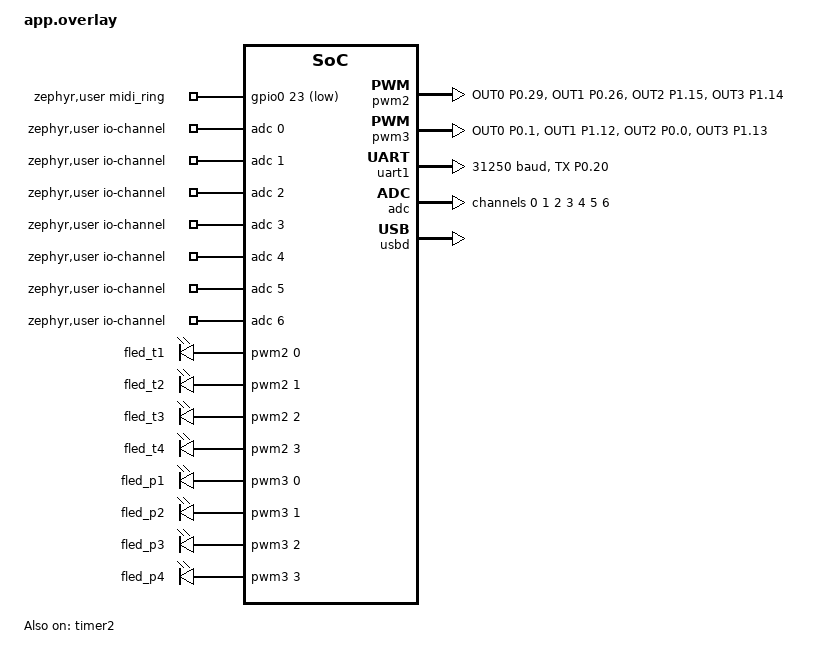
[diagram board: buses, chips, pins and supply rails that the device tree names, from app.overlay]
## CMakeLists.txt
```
cmake_minimum_required(VERSION 3.20.0)
find_package(Zephyr REQUIRED HINTS $ENV{ZEPHYR_BASE})
project(sp1-controller)
# Pulls in the sample_usbd device_next bring-up helper (sample_usbd_init.c +
# its include dir) used for the USB-CDC console. Mirrors the looper.
include(${ZEPHYR_BASE}/samples/subsys/usb/common/common.cmake)
# M5.2: librarian.c (NVS profile store) + profile.c (validate/b64 codec — built
# into the Zephyr image now; librarian uses the struct, and the M5.x protocol
# task will use the codec).
# M6.2: config_cdc.c (CDC <-> protocol bridge + live monitor stream) +
# protocol.c (the host-tested JSON-lines config protocol). protocol.c's
# read/write paths exercise profile.c's b64 codec, pulling profile_to_b64/
# profile_from_b64 into the final image (they were gc-eliminated in M5.2).
# Phase 2b: mode.c is the pure device-mode decision unit (mode_decide / the LED
# pattern table). main.c's button-scan now calls mode_decide() to drive the
# on-device •• + FWD/RWD mode toggle (and the config_cdc unsolicited mode push),
# so it must be in the image — it was host-test-only until this wiring landed.
# Indicator-language rework: dial.c is the pure count-dial FSM + the count->track-
# row LED mapping (dial_track_pattern). main.c's •• handler now feeds dial_step()
# and renders dial_track_pattern() every tick, so it must be in the image — it was
# host-test-only (firmware/test) until this wiring landed.
# 0.9.1 LED redesign: side_led.c is the pure SIDE-row render (side_led_pattern =
# layer rest + temporary mode-flash). main.c's per-tick side-row block calls it
# every loop, so it must be in the image — it was host-test-only until this wiring.
# 0.9.3-beta stateful buttons: transport.c is the pure BTN_TRANSPORT decision
# (transport_rt -> MIDI system real-time Start/Stop/Continue). main.c's
# route_midi_button() now calls it on a transport-button press, so it must be in
# the image — it was host-test-only (firmware/test) until this wiring landed.
# Keyboard auto-repeat: kbd_hid.c is the pure Keyboard-mode HELD-key state +
# boot-keyboard report builder. main.c now latches press/release edges into it and
# sends usb_hid_send_report() so a held button holds its key (host OS auto-repeats),
# so it must be in the image — host-test-only (firmware/test) until this wiring.
target_sources(app PRIVATE src/main.c src/control_logic.c src/controls.c src/buttons.c src/mapping.c src/cc_value.c src/midi_out.c src/usbdev.c src/usb_midi1.c src/usb_hid.c src/kbd_hid.c src/midi1_codec.c src/transport.c src/librarian.c src/profile.c src/protocol.c src/config_cdc.c src/config_cdc_fmt.c src/gesture.c src/mode.c src/panic.c src/dial.c src/side_led.c src/chord_engine.c src/chord6.c src/led_override.c src/led.c src/clockgen.c src/clock_ctl.c src/clock_cfg.c src/usb_rt_parse.c src/midi_rt_ring.c src/clock_timer.c src/clock_router.c src/trigger_out.c src/trigger_match.c)
# Phase-A Bluetooth bring-up probe (dev-only; CONFIG_FELDD_BT_PROBE). Compiled in
# only for the probe build so the shipped firmware never carries it.
target_sources_ifdef(CONFIG_FELDD_BT_PROBE app PRIVATE src/bt_probe.c src/wiced_hci.c)
# Module-download state machine (dev-only; CONFIG_FELDD_BT_DOWNLOAD). Flashes the
# CYW20706 with our embedded BLE-MIDI DS (src/cybt_blobs.h, generated by
# tools/gen_blobs.py). Compiled in only for the download build.
target_sources_ifdef(CONFIG_FELDD_BT_DOWNLOAD app PRIVATE src/bt_download.c)
# Runtime BLE link driver (dev build; CONFIG_FELDD_BT_LINK). Mirrors MIDI-out (and,
# with FELDD_BT_LINK_HID, the USB-HID keyboard) to the CYW20706 over the WICED-HCI
# UART. Reuses the wiced_hci codec + the pure bt_link_core encode/gating/drop logic,
# and pulls in the •• + play gesture FSM (bt_gesture.c) + LED vocabulary (bt_led.c)
# that main.c drives on this build. Mutually exclusive with the probe/download builds.
target_sources_ifdef(CONFIG_FELDD_BT_LINK app PRIVATE src/bt_link.c src/bt_link_core.c src/wiced_hci.c src/bt_gesture.c src/bt_led.c)
# Q5 community radio provisioning (dev/canary build; CONFIG_FELDD_BT_PROVISION, depends on
# FELDD_BT_LINK && !FELDD_BT_DOWNLOAD). bt_provision.c adds the read-only SS probe AND the
# gate-gated DS-only flasher (template gate bt_provision_gate.c); no CHIP_ERASE / SS write.
# Compiled in ONLY for the provision build, so the shipped no-BT image and the standard link
# image are byte-unchanged.
target_sources_ifdef(CONFIG_FELDD_BT_PROVISION app PRIVATE src/bt_provision.c src/bt_provision_gate.c)
```

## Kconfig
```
# SP-1 controller firmware application Kconfig.
#
# Pulls in the common USB sample options (CONFIG_SAMPLE_USBD_VID/PID/PRODUCT/...)
# consumed by the vendored sample_usbd_init.c device_next bring-up helper, then
# the standard Zephyr Kconfig tree. Mirrors the sp1-tape-looper mechanism.

source "samples/subsys/usb/common/Kconfig.sample_usbd"

config FELDD_BT_PROBE
	bool "Phase-A CYBT-353027-02 Bluetooth module bring-up probe (DEV-ONLY)"
	default n
	help
	  Build the NON-DESTRUCTIVE Phase-A Bluetooth bring-up probe (bt_probe.c)
	  instead of running feldd's normal control loop. The probe takes over right
	  after the charge-standby gate + boot animation: it opens UART0 to the onboard
	  CYBT-353027-02 (CYW20706) module, RTT-logs every byte in and out, resets the
	  module and logs its boot output, then enters the boot-ROM's UART download mode
	  (Recovery Reset) and sends HCI_RESET, watching for the ROM's command-complete
	  ack. It NEVER downloads firmware, so it erases nothing and is fully reversible
	  (reset again and the module's factory app boots). This is a debugger-only dev
	  build (needs CONFIG_RTT_CONSOLE); it must never be shipped. Leave n for release
	  builds.

config FELDD_BT_DOWNLOAD
	bool "Module-download state machine: flash the CYW20706 with our BLE-MIDI DS (DEV-ONLY)"
	depends on !FELDD_BT_PROBE
	default n
	help
	  Build the module-download state machine (bt_download.c) instead of feldd's
	  normal control loop. It reuses the probe's proven Recovery-Reset + CTS-low
	  autobaud + READ_RAM, then loads the minidriver into module RAM and streams our
	  embedded BLE-MIDI DS to the module's off-chip flash, DS-only and Static-Section-
	  preserving (NO CHIP_ERASE; DS_FLOOR 0xFF003000 unconditional guard; identity gate
	  on the burner BD_ADDR; SS snapshot + re-check). Every non-destructive step + a DS
	  dry-run runs UNLESS FELDD_BT_DOWNLOAD_ARM is set. Debugger-only dev build (needs
	  CONFIG_RTT_CONSOLE); never ship. Mutually exclusive with FELDD_BT_PROBE.

config FELDD_BT_DOWNLOAD_ARM
	bool "Arm the DESTRUCTIVE flash write in the module-download state machine"
	depends on FELDD_BT_DOWNLOAD
	default n
	help
	  When unset (default), bt_download runs every non-destructive step and a DS
	  dry-run, then STOPS before emitting the first WRITE_RAM-to-flash byte. Set this
	  ONLY to perform the real DS flash write. The DS-only / DS_FLOOR / no-CHIP_ERASE /
	  identity-gate / SS-snapshot guards remain active either way; this switch only
	  enables the write path. This is the explicit human-arm gate for the first
	  destructive touch of the irreplaceable burner module.

config FELDD_BT_DOWNLOAD_CHIPERASE
	bool "Full Download: CHIP_ERASE + rewrite the SS (makes the app cold-bootable)"
	depends on FELDD_BT_DOWNLOAD_ARM
	default n
	help
	  Switch bt_download from the SS-preserving DS-only Upgrade to a Full Download:
	  CHIP_ERASE the module flash, rewrite the Static Section with the burner's own
	  BD_ADDR preserved but the DS-descriptor byte flipped 0x30->0x40 (so the boot ROM
	  cold-boots the NEW app and it advertises), then write the DS. This is the ONLY path
	  that issues CHIP_ERASE (the one command that wipes the un-restorable BD_ADDR), gated
	  behind a pre-erase cross-check and recoverable from the 40-byte SS backup. TRIPLE
	  GATE (needs DOWNLOAD + ARM + this). Do NOT set until the whole sequence is rehearsed
	  + proven to advertise on the DISPOSABLE eval board. Never in a shipped build.

config FELDD_BT_LINK
	bool "Runtime BLE link to the CYW20706 module (BLE-MIDI sink + optional BLE-HID)"
	depends on !FELDD_BT_PROBE && !FELDD_BT_DOWNLOAD
	default n
	help
	  Build the runtime module link driver (bt_link.c): feldd opens UART0 to the
	  onboard CYW20706 in NORMAL (non-download) mode, mirrors its MIDI-out to the
	  module's BLE-MIDI notify characteristic, and (with FELDD_BT_LINK_HID) mirrors
	  its USB-HID boot-keyboard reports over BLE-HID. Sends are gated on live BLE
	  connection state learned from the module via FELDD-group WICED events. Unlike
	  FELDD_BT_PROBE/DOWNLOAD this RETURNS and runs alongside the control loop.
	  REQUIRES the bt_link-only DT overlay (EXTRA_DTC_OVERLAY_FILE=bt_link.overlay)
	  for CTS-only hw-flow-control; NEVER psel UART_RTS (P1.01 = download strap).

config FELDD_BT_LINK_HID
	bool "Mirror the USB-HID boot keyboard over BLE-HID (Phase 2)"
	depends on FELDD_BT_LINK
	default n
	help
	  Gate the Phase-2 BLE-HID keyboard mirror: feldd sends the same 8-byte boot-
	  keyboard reports it sends over USB-HID to the module, which forwards them as
	  HOGP input reports. Leave n to ship Phase 1 (wireless MIDI) with no HID code.

config FELDD_REMOTE_HID_TEST
	bool "Remote HID bench test: auto full-boot + BT on + periodic keystroke (DEV ONLY)"
	depends on FELDD_BT_LINK_HID
	default n
	help
	  DEV/BENCH ONLY, never ship. Skips the charge-standby gate (full boot on an
	  SWD reset), turns BT on at boot (no •• + play needed), and emits a periodic
	  'x' keystroke over BLE-HID once a host subscribes. Lets the whole HOGP path
	  be exercised remotely from a Mac over SWD with no physical button presses.

config FELDD_BT_PROVISION
	bool "Q5 on-device radio provisioning: read-only SS probe + gate-gated DS-only flasher for the CYW20706"
	depends on FELDD_BT_LINK && !FELDD_BT_DOWNLOAD
	default n
	help
	  Build the Q5 community radio-provisioning path (bt_provision.c) alongside the runtime
	  BLE link. It adds two configurator verbs on the onboard CYW20706:
	    {"t":"bt_ss_probe"}  READ-ONLY: download-mode -> minidriver (module RAM) -> READ_RAM
	      the 64-byte Static Section (per-unit BD_ADDR + RF cal + keys) -> template gate ->
	      reply with the SS + verdict. Flash this to a SPARE SP-1 to SAMPLE fleet uniformity
	      (design references/15, Top-3 item 1) BEFORE any community radio is ever written.
	    {"t":"bt_provision"} the gate-gated DS-only FLASHER: on GATE_OK it writes the DS (app)
	      region to convert the factory BT-Classic app to our BLE app.

	  FLASH-SAFETY: structurally incapable of a CHIP_ERASE or an SS write. The ONLY flash
	  write is the DS region at the compile-time constant CYBT_DS_BASE_ADDR, gate-gated and
	  floor/window-parked per chunk; the SS is read-only and re-verified byte-identical after
	  the write. No CHIP_ERASE / SS-write builder is compiled (those live only in
	  bt_download.c, which this `depends on !FELDD_BT_DOWNLOAD` makes mutually exclusive), and
	  bt_provision.c #errors the build if a chip-erase option is defined. Requires
	  FELDD_BT_LINK (a strict UART handoff from the runtime link, never concurrent). Build the
	  TX/RX-only bt_uart0.overlay (NOT bt_link.overlay's hw-flow-control) so it reproduces the
	  burner-proven flow_ctrl=none (design R14). NOT hardware-validated: gate a community
	  release on the design Top-3 + the module-flash-audit skill. Dev/canary build; the
	  default community download image leaves this n.

source "Kconfig.zephyr"
```

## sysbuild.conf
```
# SP-1 sysbuild configuration.
#
# Disable NCS Partition Manager. The SP-1 has a FIXED external TE bootloader
# that dictates the flash map; there is no NCS/MCUboot bootloader and only a
# single app image, so PM has nothing legitimate to place. Left enabled, PM
# auto-derives a flash model that is WRONG for this hardware:
#   - it places `app` at 0x0 (ignoring the 0x0-0x20000 TE bootloader), and
#   - it places `nvs_storage` at 0xFA000-0x100000, which runs INTO the reserved
#     0xFF000 bootloader-settings/MBR page (writing it could brick the
#     bootloader, our recovery path).
#
# With PM off, FLASH_MAP_CUSTOM is not selected, so the Flash Map API
# (FIXED_PARTITION_*) reads the devicetree fixed-partitions instead. Those are
# correct for the SP-1: bootloader@0 (0x20000), app@0x20000 (0xBF000), and
# storage@0xFB000 (0x4000, ending exactly at the reserved 0xFF000 page) from
# app.overlay. The app still links at 0x20000 via the board's ROM_START_OFFSET
# (CONFIG_FLASH_LOAD_OFFSET=0x20000), which is independent of PM.
SB_CONFIG_PARTITION_MANAGER=n
```

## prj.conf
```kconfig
CONFIG_CLOCK_CONTROL=y
CONFIG_CLOCK_CONTROL_NRF_K32SRC_SYNTH=y
CONFIG_PM=y
CONFIG_WATCHDOG=y
CONFIG_REBOOT=y
CONFIG_HW_STACK_PROTECTION=y
CONFIG_STACK_SENTINEL=y
CONFIG_GPIO=y

# ---- LED PWM: all 8 LEDs (pwm2=track, pwm3=side) driven at a global brightness
# via led.c, replacing raw-GPIO on/off so they can run dimmed. The nrfx PWM driver
# is auto-selected for the &pwm2/&pwm3 nodes enabled in app.overlay. ----
CONFIG_PWM=y

# ---- M2.2: SAADC fader/ladder read + USB-CDC debug console ----
CONFIG_ADC=y

# USB composite on the device_next stack via the sample_usbd helper: a CDC ACM
# console + a hand-rolled USB-MIDI 1.0 class (usb_midi1.c, USBD_DEFINE_CLASS).
# Both class instances are auto-registered by usbd_register_all_classes inside
# sample_usbd_init_device (M4.1). The old USB-MIDI 2.0 (usbd_midi2) class was
# dropped: feldd used no 2.0 feature, and a single MIDI-1.0 function enumerates
# cleanly on Mac/Win/iOS/old-Linux without the dual-MIDIStreaming compat risk.
CONFIG_USB_DEVICE_STACK_NEXT=y
CONFIG_USBD_CDC_ACM_CLASS=y
# Studio phase 2a: a first-party Zephyr usbd_hid boot-keyboard function joins the
# composite (usb_hid.c + the hid_dev_0 DT node in app.overlay). This Kconfig is
# default-y once DT_HAS_ZEPHYR_HID_DEVICE_ENABLED (the node makes it so), but we
# pin it explicitly to mirror the hid-keyboard sample and make the dependency
# obvious. The HID class self-registers into sample_usbd alongside CDC + MIDI1.
CONFIG_USBD_HID_SUPPORT=y
# v0.3.8: give the CDC ACM its OWN workqueue. Its TX send (tx_fifo_work) was
# starved on the shared system workqueue (USB-MIDI + USB stack contend for it),
# so config replies only flushed while RX kept re-waking the queue. The Kconfig
# help for this option describes exactly that: "use the dedicated queue ... if
# the system workqueue cannot be used due to performance issues or other
# conflicts." Dedicated queue = TX drains on its own.
CONFIG_USBD_CDC_ACM_WORKQUEUE=y
CONFIG_USBD_CDC_ACM_STACK_SIZE=2048
# The app owns the single usbd context (sample_usbd_init_device + usbd_enable);
# do NOT let the CDC SYS_INIT build a second private context that fights for
# the controller.
CONFIG_CDC_ACM_SERIAL_INITIALIZE_AT_BOOT=n
CONFIG_SERIAL=y
CONFIG_CONSOLE=y
# Console over the USB CDC-ACM (app.overlay: chosen zephyr,console = &cdc_acm_uart0).
# RELEASE value. The BT dev builds (probe/download) route printk to SEGGER RTT instead
# (USE_SEGGER_RTT + RTT_CONSOLE + UART_CONSOLE=n); that flip lives ONLY in probe.conf /
# download.conf, never here — the shipped + BT_LINK builds keep the CDC console.
CONFIG_UART_CONSOLE=y
CONFIG_UART_LINE_CTRL=y
CONFIG_UART_INTERRUPT_DRIVEN=y
CONFIG_PRINTK=y
CONFIG_HWINFO=y

# USB device identity for the sample_usbd helper. PID bumped to 0x5212 (from the
# CDC+MIDI 0x5211) so a host does not reuse a cached driver now that the MIDI
# function is BIDIRECTIONAL: we added a bulk OUT endpoint so strict USB-MIDI hosts
# (the Teenage Engineering OP-XY, which SENDS clock/notes to every device) have an
# input to send to. An output-only MIDI device hard-faults the OP-XY v1.1.18 host.
CONFIG_SAMPLE_USBD_PRODUCT="feldd"
# Nordic Semiconductor VID (0x1915). Pin it so we stop inheriting Zephyr's shared
# test VID 0x2FE3; this is the constant the WebSerial filter hardcodes
# ({ usbVendorId: 0x1915 }).
CONFIG_SAMPLE_USBD_VID=0x1915
CONFIG_SAMPLE_USBD_PID=0x5212

# USB stack + printf want a roomier main stack than the bare power build;
# device_next USBD init (descriptor build + class registration) needs headroom.
# v9 (PROFILE_VERSION 9) doubles the config codec: config_cdc_poll() -> proto_handle
# runs on THIS main thread (no separate proto thread), and the v9 write path frames
# struct profile p (1038) + b64[1385] + a nested from_b64 buf[1038] for a ~3.5 KB
# peak (up from ~1.8 KB at v8) on top of the resident control-loop frame. 4096 risks
# a MemManage stack overflow -> reset on the primary config path; 6144 gives margin.
CONFIG_MAIN_STACK_SIZE=6144

# ---- M5.2: NVS-backed profile librarian ----
# NVS persists the 8 profiles + the active index in the 16 KB storage_partition
# carved at flash 0xFB000 (app.overlay), ending at the reserved 0xFF000
# bootloader page. FLASH_MAP/FLASH_PAGE_LAYOUT give the
# FIXED_PARTITION_* macros + page geometry NVS needs; MPU_ALLOW_FLASH_WRITE lets
# the running app write its own flash region on the nRF52840.
CONFIG_NVS=y
CONFIG_FLASH=y
CONFIG_FLASH_MAP=y
CONFIG_FLASH_PAGE_LAYOUT=y
CONFIG_MPU_ALLOW_FLASH_WRITE=y

# ---- MIDI clock generator: hardware TIMER for microsecond-precise 24-PPQN ticks ----
# The Zephyr counter API drives &timer2 (app.overlay, 1 MHz) as the GEN-mode clock
# source (clock_timer.c). The nRF counter-timer driver (COUNTER_NRF_TIMER) auto-enables
# from the enabled nordic,nrf-timer DT node once CONFIG_COUNTER is on. This replaces
# the k_timer whose 32768 Hz system-tick quantisation jittered the tempo above ~100 BPM.
CONFIG_COUNTER=y

# ---- Bluetooth (feldd-bt-probe merge) ----
# NO BT symbol is enabled here: this is the SHIPPED (no-BT) config, and the BT Kconfig
# symbols (FELDD_BT_PROBE/DOWNLOAD/LINK) all default n. `fw.sh build` / `fw.sh bin` must
# stay the no-BT release image, so the probe's DEV-ONLY block (CONFIG_FELDD_BT_PROBE=y +
# the SEGGER-RTT console + UART_CONSOLE=n) was RELOCATED out of prj.conf into probe.conf.
# Select a BT build with an EXTRA_CONF_FILE overlay instead:
#   probe.conf    -> Phase-A bring-up probe (bt_probe.c), RTT console
#   download.conf -> module-download state machine (bt_download.c), RTT console
#   link.conf     -> runtime BLE link (bt_link.c), + EXTRA_DTC_OVERLAY_FILE=bt_link.overlay
# All BT source is #ifdef'd behind these symbols (main.c + CMakeLists target_sources_ifdef),
# so absent them the image is byte-for-byte the 0.24 shipped firmware.
```

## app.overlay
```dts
#include <zephyr/dt-bindings/adc/adc.h>
#include <zephyr/dt-bindings/adc/nrf-saadc.h>
#include <zephyr/dt-bindings/pinctrl/nrf-pinctrl.h>
#include <zephyr/dt-bindings/gpio/gpio.h>
#include <zephyr/dt-bindings/pwm/pwm.h>

/ {
    zephyr,user {
        /* idx: 0=ladder tracks(AIN0), 1=ladder vol(AIN1), 2..5=faders1..4(AIN3,6,2,7), 6=battery(AIN4) */
        io-channels = <&adc 0>, <&adc 1>, <&adc 2>, <&adc 3>, <&adc 4>, <&adc 5>, <&adc 6>;
        /* M3.2 TRS MIDI out: ring = PNP current-source base on P0.23, active-LOW
         * (drive logical-1 to enable; the GPIO_ACTIVE_LOW flag inverts it to the
         * electrical low the PNP base wants). Coexists with io-channels above. */
        midi_ring_gpios = <&gpio0 23 GPIO_ACTIVE_LOW>;
    };
    chosen { zephyr,console = &cdc_acm_uart0; };

    /* The USB-MIDI surface is now the hand-rolled USB-MIDI 1.0 class
     * (usb_midi1.c), which needs no DT node — it is registered via
     * USBD_DEFINE_CLASS. The old zephyr,midi2-device node was removed along with
     * the usbd_midi2 function. */
};

/* M3.2 TRS MIDI out (31250 baud, TX-only) on uart1/uarte1.
 * Tip data = UARTE TXD on P0.20 (idles high = MIDI mark/"1"). P0.20 is the
 * most-likely TXD per the CA-033/RP-054 research; if the on-hardware bench
 * (scope + OP-XY) later shows P0.17 is the real tip TXD, flip the psels pin
 * number below from 20 to 17 — a one-line pinctrl change.
 * A second tip pin (P0.17, a parallel current copy) is only needed if one pin
 * cannot drive the MIDI opto; DEFERRED until one-pin drive proves too weak. */
&pinctrl {
    uart1_default: uart1_default { group1 { psels = <NRF_PSEL(UART_TX, 0, 20)>; }; };
    uart1_sleep:   uart1_sleep   { group1 { psels = <NRF_PSEL(UART_TX, 0, 20)>; low-power-enable; }; };

    /* NOTE: the BT module UART0 (P1.02 TX / P1.04 RX) pinctrl + the &uart0 enable
     * node live in bt_uart0.overlay, a BT-only EXTRA_DTC_OVERLAY_FILE fragment.
     * They are deliberately NOT here: DT overlays are not Kconfig-gated, so enabling
     * &uart0 in this shared overlay would boot-init UARTE0 in the SHIPPED no-BT image
     * (0.24 never did). See bt_uart0.overlay. */

    /* LED PWM (mirrors the gold sp1-midi BSP stem_player-pinctrl.dtsi).
     * PWM2 = track row, PWM3 = side/play row. Channel->pin per the CANONICAL LED map. */
    pwm2_default: pwm2_default { group1 {
        psels = <NRF_PSEL(PWM_OUT0, 0, 29)>,   /* T1 P0.29 */
                <NRF_PSEL(PWM_OUT1, 0, 26)>,   /* T2 P0.26 */
                <NRF_PSEL(PWM_OUT2, 1, 15)>,   /* T3 P1.15 */
                <NRF_PSEL(PWM_OUT3, 1, 14)>;   /* T4 P1.14 */
    }; };
    pwm2_sleep: pwm2_sleep { group1 {
        psels = <NRF_PSEL(PWM_OUT0, 0, 29)>, <NRF_PSEL(PWM_OUT1, 0, 26)>,
                <NRF_PSEL(PWM_OUT2, 1, 15)>, <NRF_PSEL(PWM_OUT3, 1, 14)>;
        low-power-enable;
    }; };
    pwm3_default: pwm3_default { group1 {
        psels = <NRF_PSEL(PWM_OUT0, 0, 1)>,    /* PLAY1 P0.01 */
                <NRF_PSEL(PWM_OUT1, 1, 12)>,   /* PLAY2 P1.12 */
                <NRF_PSEL(PWM_OUT2, 0, 0)>,    /* PLAY3 P0.00 */
                <NRF_PSEL(PWM_OUT3, 1, 13)>;   /* PLAY4 P1.13 (== SP1_LED1) */
    }; };
    pwm3_sleep: pwm3_sleep { group1 {
        psels = <NRF_PSEL(PWM_OUT0, 0, 1)>, <NRF_PSEL(PWM_OUT1, 1, 12)>,
                <NRF_PSEL(PWM_OUT2, 0, 0)>, <NRF_PSEL(PWM_OUT3, 1, 13)>;
        low-power-enable;
    }; };
};

/* Enable the two PWM peripherals that drive the 8 LEDs (raw GPIO drive is replaced
 * by led.c). ~1 kHz, active-high normal polarity, so duty% == LED brightness. */
&pwm2 {
    status = "okay";
    pinctrl-0 = <&pwm2_default>; pinctrl-1 = <&pwm2_sleep>; pinctrl-names = "default","sleep";
};
&pwm3 {
    status = "okay";
    pinctrl-0 = <&pwm3_default>; pinctrl-1 = <&pwm3_sleep>; pinctrl-names = "default","sleep";
};

/ {
    /* pwm-leds container (gold-BSP pattern). led.c references these child labels in
     * FIXED order: idx 0..3 = track T1..T4, idx 4..7 = side/play LED1..4 (feldd
     * numbering; see the CANONICAL LED map in sp1_board.h). compatible="pwm-leds"
     * gives each child's `pwms` a binding (needed for PWM_DT_SPEC_GET); we drive
     * the channels directly, so CONFIG_LED_PWM is intentionally NOT enabled. */
    feldd_leds: feldd-leds {
        compatible = "pwm-leds";
        fled_t1: fled_t1 { pwms = <&pwm2 0 PWM_USEC(1024) PWM_POLARITY_NORMAL>; };  /* T1 P0.29 */
        fled_t2: fled_t2 { pwms = <&pwm2 1 PWM_USEC(1024) PWM_POLARITY_NORMAL>; };  /* T2 P0.26 */
        fled_t3: fled_t3 { pwms = <&pwm2 2 PWM_USEC(1024) PWM_POLARITY_NORMAL>; };  /* T3 P1.15 */
        fled_t4: fled_t4 { pwms = <&pwm2 3 PWM_USEC(1024) PWM_POLARITY_NORMAL>; };  /* T4 P1.14 */
        fled_p1: fled_p1 { pwms = <&pwm3 0 PWM_USEC(1024) PWM_POLARITY_NORMAL>; };  /* PLAY1 P0.01 */
        fled_p2: fled_p2 { pwms = <&pwm3 1 PWM_USEC(1024) PWM_POLARITY_NORMAL>; };  /* PLAY2 P1.12 */
        fled_p3: fled_p3 { pwms = <&pwm3 2 PWM_USEC(1024) PWM_POLARITY_NORMAL>; };  /* PLAY3 P0.00 */
        fled_p4: fled_p4 { pwms = <&pwm3 3 PWM_USEC(1024) PWM_POLARITY_NORMAL>; };  /* PLAY4 P1.13 */
    };
};
&uart1 {
    compatible = "nordic,nrf-uarte"; status = "okay";
    current-speed = <31250>;
    pinctrl-0 = <&uart1_default>; pinctrl-1 = <&uart1_sleep>; pinctrl-names = "default","sleep";
    /* TX-only MIDI out: no RX/RTS/CTS. P0.20 = tip TXD (most-likely; flip to
     * P0.17 if the bench shows otherwise). Second tip pin P0.17 (parallel
     * current copy) deferred until one-pin drive proves too weak. */
};

/* MIDI clock generator (GEN mode): a dedicated nRF hardware TIMER gives the
 * 24-PPQN ticks microsecond precision (clock_timer.c drives it via the Zephyr
 * counter API). Replaces the k_timer whose ~30 us system-tick quantisation
 * jittered the tempo visibly above ~100 BPM. prescaler 4 -> 16 MHz / 2^4 =
 * 1 MHz = 1 us/tick; the 40..240 BPM tick periods (10416..62500 us) sit well
 * inside the counter range. No other feldd code claims a TIMER instance. */
&timer2 {
    status = "okay";
    prescaler = <4>;
};

/* BT module UART0 (&uart0 enable + current-speed + pinctrl) lives in the BT-only
 * bt_uart0.overlay fragment, NOT here. Enabling &uart0 in this shared overlay would
 * boot-init UARTE0 in the SHIPPED no-BT image (0.24 leaves uart0 disabled). BT builds
 * pull in bt_uart0.overlay via EXTRA_DTC_OVERLAY_FILE (probe/download: bt_uart0.overlay;
 * link: "bt_uart0.overlay;bt_link.overlay" for the added CTS/hw-flow-control). */

&adc {
    status = "okay";
    #address-cells = <1>;
    #size-cells = <0>;
    channel@0 { reg=<0>; zephyr,gain="ADC_GAIN_1_6"; zephyr,reference="ADC_REF_INTERNAL";
        zephyr,acquisition-time=<ADC_ACQ_TIME(ADC_ACQ_TIME_MICROSECONDS,20)>;
        zephyr,input-positive=<NRF_SAADC_AIN0>; zephyr,resolution=<12>; };   /* ladder: tracks */
    channel@1 { reg=<1>; zephyr,gain="ADC_GAIN_1_6"; zephyr,reference="ADC_REF_INTERNAL";
        zephyr,acquisition-time=<ADC_ACQ_TIME(ADC_ACQ_TIME_MICROSECONDS,20)>;
        zephyr,input-positive=<NRF_SAADC_AIN1>; zephyr,resolution=<12>; };   /* ladder: vol */
    channel@2 { reg=<2>; zephyr,gain="ADC_GAIN_1_6"; zephyr,reference="ADC_REF_INTERNAL";
        zephyr,acquisition-time=<ADC_ACQ_TIME(ADC_ACQ_TIME_MICROSECONDS,20)>;
        zephyr,input-positive=<NRF_SAADC_AIN3>; zephyr,resolution=<12>; };   /* fader1 P0.05 */
    channel@3 { reg=<3>; zephyr,gain="ADC_GAIN_1_6"; zephyr,reference="ADC_REF_INTERNAL";
        zephyr,acquisition-time=<ADC_ACQ_TIME(ADC_ACQ_TIME_MICROSECONDS,20)>;
        zephyr,input-positive=<NRF_SAADC_AIN6>; zephyr,resolution=<12>; };   /* fader2 P0.30 */
    channel@4 { reg=<4>; zephyr,gain="ADC_GAIN_1_6"; zephyr,reference="ADC_REF_INTERNAL";
        zephyr,acquisition-time=<ADC_ACQ_TIME(ADC_ACQ_TIME_MICROSECONDS,20)>;
        zephyr,input-positive=<NRF_SAADC_AIN2>; zephyr,resolution=<12>; };   /* fader3 P0.04 */
    channel@5 { reg=<5>; zephyr,gain="ADC_GAIN_1_6"; zephyr,reference="ADC_REF_INTERNAL";
        zephyr,acquisition-time=<ADC_ACQ_TIME(ADC_ACQ_TIME_MICROSECONDS,20)>;
        zephyr,input-positive=<NRF_SAADC_AIN7>; zephyr,resolution=<12>; };   /* fader4 P0.31 */
    channel@6 { reg=<6>; zephyr,gain="ADC_GAIN_1_6"; zephyr,reference="ADC_REF_INTERNAL";
        zephyr,acquisition-time=<ADC_ACQ_TIME(ADC_ACQ_TIME_MICROSECONDS,20)>;
        zephyr,input-positive=<NRF_SAADC_AIN4>; zephyr,resolution=<12>; };   /* battery P0.28 */
};

/* The nRF52840 USB device-controller nodelabel is &usbd; there is no
 * zephyr_udc0 alias on this SoC. The sample_usbd helper (sample_usbd_init.c)
 * hard-references DT_NODELABEL(zephyr_udc0), so we attach that extra label here
 * and hang the CDC-ACM console child node off it. */
zephyr_udc0: &usbd {
    status = "okay";
    cdc_acm_uart0: cdc_acm_uart0 { compatible = "zephyr,cdc-acm-uart"; };

    /* Studio phase 2a: a first-party Zephyr usbd_hid boot-keyboard function
     * (usb_hid.c), joining the same sample_usbd composite as the CDC console +
     * USB-MIDI 1.0. Mirrors samples/subsys/usb/hid-keyboard's hid_dev_0 node: a
     * standard 8-byte boot-keyboard input report (modifiers, reserved, 6 keycodes),
     * polled at 1 ms. The driver (usbd_hid.c, compat zephyr,hid-device) builds the
     * HID interface + a single interrupt-IN endpoint and self-registers into the
     * composite via usbd_register_all_classes (it is NOT on the helper's blocklist,
     * which only excludes dfu_dfu). Presence of this node auto-selects
     * CONFIG_USBD_HID_SUPPORT (default y when DT_HAS_ZEPHYR_HID_DEVICE_ENABLED). */
    hid_dev_0: hid_dev_0 {
        compatible = "zephyr,hid-device";
        label = "FELDD-HID";
        protocol-code = "keyboard";
        in-report-size = <8>;
        in-polling-period-us = <1000>;
    };
};

/* M5.2 NVS storage partition for the profile librarian.
 *
 * The marisko board dts (boards/arm/sp1/sp1.dts) declares only
 * bootloader_partition @0 (0x20000) + app_partition @0x20000 (0xBF000).
 * The app *partition* (the linker cap on the app image) ends at 0xDF000, but
 * the SP-1 bootloader's actual writable app slot runs to 0xFEFFF — only the
 * last page 0xFF000..0xFFFFF is reserved. The nRF52840 flash is 1 MB
 * (0x100000). We place NVS at the TOP of usable flash (conventional NVS
 * placement: maximally far from a growing app image, just under the reserved
 * page) — a 32 KB (0x8000) region spanning 0xF7000..0xFF000, ending exactly
 * at the reserved page. It is safe because it sits above the linker-capped app
 * region (ends 0xDF000) and just below the only reserved page (0xFF000).
 *
 * Referencing the &flash0 { partitions { ... }; } path MERGES this child into
 * the marisko-declared `partitions` node (which has no label, so it is reached
 * by node path); the bootloader + app partitions survive and all three appear
 * in the merged zephyr.dts. The node is named partition@f7000 so its
 * unit-address matches its reg offset, and labelled storage_partition so
 * FIXED_PARTITION_*(storage_partition) resolves in librarian.c. */
&flash0 {
    partitions {
        storage_partition: partition@f7000 {
            label = "storage";
            reg = <0x000F7000 0x00008000>;
        };
    };
};
```

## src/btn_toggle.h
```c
#ifndef BTN_TOGGLE_H
#define BTN_TOGGLE_H
#include <stdint.h>
#include "profile.h"   /* NUM_LAYERS, NUM_BUTTONS */

/* Pure per-LAYER, per-BUTTON latched-toggle store for BTN_CC_TOGGLE (e.g. the
 * OP-XY per-track mute CC9 / portamento CC29). Each track-layer keeps its OWN
 * on/off bit, so muting track 3 (layer 2) and hopping to track 5 (layer 4) do
 * not share a mute bit. INDEPENDENT per track: do NOT reset on a layer hop
 * (that would re-mute a track on return); reset every layer only on a profile
 * switch. Header-only so main.c and the host test link the identical indexing
 * (mirrors layer_takeover.h). 8*9 = 72 bytes. */
struct btn_toggle { uint8_t bit[NUM_LAYERS][NUM_BUTTONS]; };

static inline void btn_toggle_init(struct btn_toggle *t) {
    for (int L = 0; L < NUM_LAYERS; L++)
        for (int b = 0; b < NUM_BUTTONS; b++) t->bit[L][b] = 0;
}
/* Flip one (layer, button) latch and return its NEW value (0/1). */
static inline uint8_t btn_toggle_flip(struct btn_toggle *t, int layer, int idx) {
    t->bit[layer][idx] ^= 1u;
    return t->bit[layer][idx];
}
static inline uint8_t btn_toggle_get(const struct btn_toggle *t, int layer, int idx) {
    return t->bit[layer][idx];
}
/* Profile switch = full reset: clear EVERY layer's latch. */
static inline void btn_toggle_reset_all(struct btn_toggle *t) {
    btn_toggle_init(t);
}

#endif /* BTN_TOGGLE_H */
```

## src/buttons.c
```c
/*
 * buttons.c — decode the SP-1's two resistor-ladder ADC inputs into the 9
 * logical buttons, with a 3-read sticky debounce per ladder, plus detection of
 * the Track1+4 "enter DFU" combo band.
 *
 * Logical button indices (MUST match the mapping engine's button[9] order and
 * the protocol's button indices):
 *     0=Play  1=Track1  2=Track2  3=Track3  4=Track4
 *     5=VolUp 6=VolDown 7=FWD     8=RWD
 * The •• function button is a DIRECT GPIO (P0.27) handled in main.c, NOT one of
 * these 9 — it is power/bootloader only.
 *
 * Thresholds come from the chattock looper's VERIFIED decode (decode_tracks /
 * decode_vol in sp1-tape-looper/firmware/src/main.c). HARDWARE CALIBRATION of
 * the exact ADC plateaus is DEFERRED until Unit A is on the bench; these are the
 * looper's confirmed defaults.
 *
 * The decode + debounce is PURE INTEGER LOGIC (see *_pure functions below) and
 * depends only on the raw 0..4095 ADC values, so it is host-testable. The only
 * Zephyr coupling is the I/O shell (buttons_init / controls_read_raw), compiled
 * out when BUTTONS_HOST_TEST is defined.
 */
#include "buttons.h"

/* --------------------------------------------------------------------------
 * Decode: raw ladder code -> a single active logical index, or -1 for none.
 * Only one button per ladder can be active at a time — that is how a resistor
 * ladder physically works (a second press just pulls a different parallel
 * resistance, landing on its own plateau, never two at once).
 * ------------------------------------------------------------------------ */

/* TRACKS ladder (controls_read_raw(0), AIN0). Looper decode_tracks():
 *   <110 NONE | <300 T1(~213) | <560 T2(~403) | <950 T3(~733)
 *   | <1500 T4(~1220) | else PLAY(~1823)
 * Mapped to our indices: Play=0, Track1..4 = 1..4. */
int buttons_decode_tracks_pure(int v)
{
    if (v <  110) return -1;   /* idle */
    if (v <  300) return 1;    /* Track1 */
    if (v <  560) return 2;    /* Track2 */
    if (v <  950) return 3;    /* Track3 */
    if (v < 1500) return 4;    /* Track4 */
    return 0;                  /* Play */
}

/* VOL ladder (controls_read_raw(1), AIN1). Looper decode_vol() yields four
 * distinct plateaus in ASCENDING raw order:
 *     <200 NONE | <560 (~404) | <950 (~729) | <1500 (~1220) | else (~1820)
 * The looper's own names (TEMPO_DOWN/VOL_DOWN/TEMPO_UP/VOL_UP) are looper-
 * specific. What is physically fixed is the PLATEAU ORDER; the logical name on
 * each plateau is a wiring assumption confirmable on hardware later.
 *
 * BENCH-CONFIRMED ASSIGNMENT (ascending raw -> our logical name). petercolombo
 * reported on a real unit (2026-06-18) that FWD and VolDown were swapped — the
 * outer two (RWD lowest, VolUp highest) were correct, the inner two reversed. So
 * the transport/volume pairs are interleaved on the ladder, not grouped as first
 * assumed:
 *     plateau ~404  -> RWD     (idx 8)
 *     plateau ~729  -> VolDown (idx 6)
 *     plateau ~1220 -> FWD     (idx 7)
 *     plateau ~1820 -> VolUp   (idx 5)
 * If a future bench disagrees, only this mapping table changes. */
int buttons_decode_vol_pure(int v)
{
    if (v <  200) return -1;   /* idle */
    if (v <  560) return 8;    /* RWD */
    if (v <  950) return 6;    /* VolDown */
    if (v < 1500) return 7;    /* FWD */
    return 5;                  /* VolUp */
}

/* Track1+4 DFU combo: pressing Track1 and Track4 together pulls a DISTINCT band
 * on the TRACKS ladder between T4 (~1220) and PLAY (~1823). Looper uses
 * 1280..1390. HARDWARE-CALIBRATE on the bench. */
#define DFU_BAND_LO 1280
#define DFU_BAND_HI 1390

/* ~1.2 s of consecutive in-band scans at the ~8 ms scan cadence. */
#define DFU_HOLD_SCANS 150

int buttons_in_dfu_band_pure(int v)
{
    return (v >= DFU_BAND_LO && v <= DFU_BAND_HI) ? 1 : 0;
}

/* --------------------------------------------------------------------------
 * Sticky 3-read debounce.
 *
 * A candidate decode must match on 3 CONSECUTIVE reads (~24 ms) before it
 * becomes the committed (settled) button; a lone glitch back to the held value
 * resets the counter, so a steady hold can never false-trigger and a single
 * noisy ADC sample can never look like a release. Mirrors the looper's verified
 * debounce. Returns the committed index after this read (-1 = none).
 * ------------------------------------------------------------------------ */
struct btn_debounce {
    int committed;   /* settled button index, -1 = none */
    int cand;        /* candidate awaiting confirmation */
    int cand_cnt;    /* consecutive reads matching cand */
};

void buttons_debounce_init(struct btn_debounce *d)
{
    d->committed = -1;
    d->cand = -1;
    d->cand_cnt = 0;
}

int buttons_debounce_step(struct btn_debounce *d, int raw_decode)
{
    if (raw_decode == d->committed) {
        d->cand_cnt = 0;            /* steady hold: drop any in-flight candidate */
    } else if (raw_decode == d->cand) {
        if (++d->cand_cnt >= 3) {   /* confirmed on 3 consecutive reads */
            d->committed = raw_decode;
            d->cand_cnt = 0;
        }
    } else {
        d->cand = raw_decode;       /* new candidate; start its count */
        d->cand_cnt = 1;
    }
    return d->committed;
}

/* --------------------------------------------------------------------------
 * Pure scan core: given the two raw ladder reads and persistent state, advance
 * both debouncers + the DFU hold counter and emit press/release edges. This is
 * the whole behaviour, with no Zephyr dependency, so the host test drives it
 * directly.
 * ------------------------------------------------------------------------ */
struct buttons_state {
    struct btn_debounce trk;   /* tracks ladder -> {Play,Track1..4} */
    struct btn_debounce vol;   /* vol ladder    -> {VolUp,VolDn,FWD,RWD} */
    int dfu_scans;             /* consecutive in-band scans of the combo */
    int dfu_held;              /* latched once DFU_HOLD_SCANS reached */
};

void buttons_state_init(struct buttons_state *s)
{
    buttons_debounce_init(&s->trk);
    buttons_debounce_init(&s->vol);
    s->dfu_scans = 0;
    s->dfu_held = 0;
}

/* Emit a single edge if capacity allows; returns the (possibly unchanged) count. */
static int emit_edge(struct button_event *evt, int cap, int n, int idx, int pressed)
{
    if (idx < 0 || n >= cap) {
        return n;
    }
    evt[n].idx = (uint8_t)idx;
    evt[n].pressed = (uint8_t)pressed;
    return n + 1;
}

/* Advance one ladder's debounce and emit a release for the old committed button
 * and a press for the new one when the committed value changes. */
static int scan_ladder(struct btn_debounce *d, int raw_decode,
                       struct button_event *evt, int cap, int n)
{
    int before = d->committed;
    int after = buttons_debounce_step(d, raw_decode);
    if (after != before) {
        n = emit_edge(evt, cap, n, before, 0);   /* release the old (if any) */
        n = emit_edge(evt, cap, n, after, 1);    /* press the new (if any) */
    }
    return n;
}

/* The full pure scan. trk_raw / vol_raw are the two ladder codes (0..4095).
 * Detects the DFU combo on the TRACKS ladder BEFORE the normal track decode, so
 * the combo band is never mistaken for a Track-4 press. Returns the number of
 * edges written to evt[]. */
int buttons_scan_pure(struct buttons_state *s, int trk_raw, int vol_raw,
                      struct button_event *evt, int cap)
{
    int n = 0;

    /* DFU combo first: while the band holds, the tracks ladder reports NONE so
     * neither Track4 nor Play can be (mis)pressed during the combo. */
    int trk_decode;
    if (buttons_in_dfu_band_pure(trk_raw)) {
        if (s->dfu_scans < DFU_HOLD_SCANS) {
            s->dfu_scans++;
        }
        if (s->dfu_scans >= DFU_HOLD_SCANS) {
            s->dfu_held = 1;
        }
        trk_decode = -1;
    } else {
        s->dfu_scans = 0;
        trk_decode = buttons_decode_tracks_pure(trk_raw);
    }

    n = scan_ladder(&s->trk, trk_decode, evt, cap, n);
    n = scan_ladder(&s->vol, buttons_decode_vol_pure(vol_raw), evt, cap, n);
    return n;
}

/* Rail-load class from the two raw ladder reads: 0 idle, 1 loaded, 2 HEAVY. HEAVY =
 * the pressed button sits on a ladder's TOP plateau (>=1500: PLAY ~1823 on tracks,
 * VolUp ~1820 on vol). Rail current is ~proportional to the plateau raw
 * (I = Vrail/(Rup+Rdown), raw = 4095*Rdown/(Rup+Rdown)), so PLAY sags the shared
 * BTN_COM rail ~8.5x harder than Track1 and ~1.5x harder than Track4 — enough to
 * cross a CC step on a high-riding fader. The fader deadband widens for this class
 * (petercolombo fader jitter, 2026-07-12). Pure so it host-tests. */
int buttons_rail_class_pure(int trk_raw, int vol_raw)
{
    if (trk_raw >= 1500 || vol_raw >= 1500) return 2;   /* PLAY / VolUp: heaviest sag */
    if (trk_raw >= 110  || vol_raw >= 200)  return 1;   /* any other held button */
    return 0;                                           /* idle */
}

/* --------------------------------------------------------------------------
 * Zephyr I/O shell. Compiled out for the host test (which drives the pure core
 * above directly). The shell is intentionally thin: it only wires
 * controls_read_raw() into buttons_scan_pure() over module-static state.
 * ------------------------------------------------------------------------ */
#ifndef BUTTONS_HOST_TEST
#include "controls.h"

static struct buttons_state g_state;
static int g_rail_loaded;   /* instantaneous: any button pulling the rail this scan */

int buttons_init(void)
{
    buttons_state_init(&g_state);
    g_rail_loaded = 0;
    return 0;
}

int buttons_scan(struct button_event *evt, int cap)
{
    /* One snapshot of both ladders AND the four faders, at one instant, per pass
     * (controls_sample): the fader loop and buttons_rail_probe() read it too. */
    (void)controls_sample();              /* on error the previous snapshot stands */
    int trk_raw = controls_snap(0);       /* tracks ladder (AIN0) */
    int vol_raw = controls_snap(1);       /* vol ladder   (AIN1) */
    if (trk_raw < 0) trk_raw = 0;         /* a read error reads as idle */
    if (vol_raw < 0) vol_raw = 0;
    /* Capture the INSTANTANEOUS rail load (pre-debounce): a button pressed THIS
     * scan already pulls current through its ladder, sagging the shared BTN_COM
     * rail. The fader gate reads this rather than the 3-read committed state, so
     * it skips the drooped fader read on the very first sagged tick instead of
     * ~24 ms later. Thresholds mirror the decode idle bands (<110 tracks, <200
     * vol = nothing held); the Track1+4 DFU band (>110) also loads the rail. */
    g_rail_loaded = buttons_rail_class_pure(trk_raw, vol_raw);   /* 0 idle / 1 loaded / 2 heavy; truthiness unchanged */
    return buttons_scan_pure(&g_state, trk_raw, vol_raw, evt, cap);
}

/* Fresh instantaneous rail-load class, re-read NOW (no debounce side effects).
 * main.c calls this right before the fader reads to catch a press that landed
 * AFTER buttons_scan() earlier in the same tick — otherwise the first (worst) sag
 * transient reaches the fader path on the un-widened idle deadband, including the
 * 0/127 rail-band bypass. Two ladder ADC reads, ~us-scale. */
int buttons_rail_probe(void)
{
    /* The ladders and the faders are now one snapshot (controls_sample in
     * buttons_scan), so a press cannot land between the ladder read and the fader
     * reads: this classifies that same instant, and costs no ADC read. */
    int trk_raw = controls_snap(0);
    int vol_raw = controls_snap(1);
    if (trk_raw < 0) trk_raw = 0;
    if (vol_raw < 0) vol_raw = 0;
    return buttons_rail_class_pure(trk_raw, vol_raw);
}

int buttons_dfu_held(void)
{
    return g_state.dfu_held;
}

/* True if THIS scan's raw ladder reads showed any button pulling the rail
 * (instantaneous, pre-debounce). The control loop gates the fader read on this:
 * a held button sags the shared BTN_COM rail, which (the SAADC ref is internal,
 * not ratiometric) drops all four fader reads ~1-2 LSB. The raw read catches the
 * press edge on the first sagged tick; the committed state would lag it ~24 ms
 * and leak the droop. */
int buttons_rail_loaded(void)
{
    return g_rail_loaded;
}

/* The tracks-ladder committed (debounced) button index: -1 idle, 0=Play,
 * 1..4 = Track1..4. Drives the track-LED button-press feedback in main.c. A
 * resistor ladder reports one button at a time, so at most one track is held. */
int buttons_track_committed(void)
{
    return g_state.trk.committed;
}
#endif /* BUTTONS_HOST_TEST */
```

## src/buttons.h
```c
#ifndef BUTTONS_H
#define BUTTONS_H
#include <stdint.h>
#define BTN_COUNT 9   /* 0=Play,1..4=Track1..4,5=VolUp,6=VolDn,7=FWD,8=RWD */
struct button_event { uint8_t idx; uint8_t pressed; };   /* one edge */
int  buttons_init(void);
/* Scan both ladders once; emit edges (press/release) for the 9 buttons into
   evt[] (cap entries); returns number of edges. Call ~every 8ms. */
int  buttons_scan(struct button_event *evt, int cap);
/* True while the Track1+4 DFU band has been held long enough; the caller acts. */
int  buttons_dfu_held(void);
/* True if THIS scan's raw ladder reads show any button pulling the rail
   (instantaneous, pre-debounce). The control loop gates the fader read on this:
   a button sags the shared rail and drops the fader ADC reads, and the raw read
   catches the press edge on the first sagged tick (the committed state lags it
   by ~24 ms). Valid after buttons_scan() has run this tick. Returns the rail-load
   CLASS: 0 idle / 1 loaded / 2 heavy (PLAY/VolUp top plateau); truthy = loaded. */
int  buttons_rail_loaded(void);
/* Rail-load class (0/1/2) from two raw ladder reads. Pure, host-testable. */
int  buttons_rail_class_pure(int trk_raw, int vol_raw);
/* Fresh instantaneous rail-load class, re-read NOW (two ladder ADC reads). Call
   right before the fader read to close the intra-tick press race. */
int  buttons_rail_probe(void);
/* The tracks-ladder committed (debounced) button index: -1 idle, 0=Play,
   1..4 = Track1..4. Drives the track-LED button-press feedback (light track LED
   N while its Track button is held). */
int  buttons_track_committed(void);
#endif
```

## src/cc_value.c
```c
#include <stddef.h>
#include <string.h>
#include "cc_value.h"

void cc_value_pack(uint8_t sub, uint8_t on, uint8_t off, struct chord6 *out)
{
    memset(out, 0, sizeof *out);
    out->b[1] = on;
    out->b[2] = off;
    out->b[3] = sub;   /* b[0], b[4], b[5] stay 0 */
}

int cc_value_unpack(const struct chord6 *in, uint8_t *sub, uint8_t *on, uint8_t *off)
{
    if (in == NULL) return -1;
    *sub = in->b[3];
    *on  = in->b[1];
    *off = in->b[2];
    return 0;
}

int cc_value_decide(uint8_t sub, int pressed, uint8_t on, uint8_t off,
                    struct btn_toggle *t, int layer, int idx, uint8_t *d2)
{
    if (sub == 2) {                     /* toggle: press-edge only, stateful */
        if (!pressed) return 0;
        *d2 = btn_toggle_flip(t, layer, idx) ? on : off;
        return 1;
    }
    if (sub == 1) {                     /* momentary: both edges */
        *d2 = pressed ? on : off;
        return 1;
    }
    if (!pressed) return 0;             /* set-on-press (sub 0 or any other): press only */
    *d2 = on;
    return 1;
}
```

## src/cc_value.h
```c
#ifndef CC_VALUE_H
#define CC_VALUE_H
#include <stdint.h>
#include "profile.h"      /* struct chord6 */
#include "btn_toggle.h"   /* struct btn_toggle (used by cc_value_decide) */

/* Pack {sub_mode,on,off} into the reused chord6 slot: [0, on, off, sub, 0, 0].
 * The b[0]=0 + b[4]=b[5]=0 pinning makes the slot decode as an EMPTY chord to any
 * reader that does not understand BTN_CC_VALUE (chord6_is_empty -> true). */
void cc_value_pack(uint8_t sub, uint8_t on, uint8_t off, struct chord6 *out);

/* Read a cc_value slot: *on=b[1], *off=b[2], *sub=b[3]. Returns 0, or -1 if in==NULL. */
int cc_value_unpack(const struct chord6 *in, uint8_t *sub, uint8_t *on, uint8_t *off);

/* Decide the CC value to send for one button edge. sub: 0=set-on-press,
 * 1=momentary, 2=toggle. For toggle, flips t->bit[layer][idx] and uses the NEW
 * state (device-blind: first press after btn_toggle_reset_all sends `on`). Writes
 * *d2 with the value to send. Returns 1 if a MIDI message should be sent, else 0
 * (set-on-press release, toggle release). Momentary emits on BOTH edges. */
int cc_value_decide(uint8_t sub, int pressed, uint8_t on, uint8_t off,
                    struct btn_toggle *t, int layer, int idx, uint8_t *d2);

#endif
```

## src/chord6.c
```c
/*
 * chord6.c — pack/unpack the v8 stored 6-byte chord (spec §2).
 *
 * The profile stores chord6 (6 B) per (layer, button); chord_engine consumes the
 * unpacked struct chord_def (12 B). These two functions are the ONLY translation
 * point. Freestanding-friendly: only <stdint.h> + <string.h>.
 */
#include <stdint.h>
#include <string.h>
#include "chord6.h"

void chord6_pack(const struct chord_def *in, struct chord6 *out)
{
    memset(out, 0, sizeof *out);
    if (in == 0) return;
    uint8_t mode = in->mode & 0x07;
    if (mode == CHORD6_MODE_EXPLICIT) {
        uint8_t cnt = in->count;
        if (cnt > CHORD6_MAX_EXPLICIT) cnt = CHORD6_MAX_EXPLICIT;   /* 5-note stored cap */
        out->b[0] = (uint8_t)((mode << 5) | (cnt & 0x1F));
        for (int i = 0; i < cnt; i++) out->b[1 + i] = in->notes[i];
    } else if (mode == CHORD6_MODE_RANGE) {
        out->b[0] = (uint8_t)(mode << 5);                          /* count 0 */
        out->b[1] = in->range_start;
        out->b[2] = in->range_count;
    } else { /* CHORD6_MODE_QUALITY */
        out->b[0] = (uint8_t)(mode << 5);                          /* count 0 */
        out->b[1] = in->root;
        out->b[2] = in->quality;
    }
}

void chord6_unpack(const struct chord6 *in, struct chord_def *out)
{
    memset(out, 0, sizeof *out);
    if (in == 0) return;
    uint8_t mode  = (uint8_t)((in->b[0] >> 5) & 0x07);
    uint8_t count = (uint8_t)(in->b[0] & 0x1F);
    out->mode = mode;
    if (mode == CHORD6_MODE_EXPLICIT) {
        if (count > CHORD6_MAX_EXPLICIT) count = CHORD6_MAX_EXPLICIT;
        out->count = count;
        for (int i = 0; i < count; i++) out->notes[i] = in->b[1 + i];
    } else if (mode == CHORD6_MODE_RANGE) {
        out->range_start = in->b[1];
        out->range_count = in->b[2];
    } else { /* CHORD6_MODE_QUALITY */
        out->root    = in->b[1];
        out->quality = in->b[2];
    }
}

int chord6_is_empty(const struct chord6 *c)
{
    if (c == 0) return 1;
    uint8_t mode  = (uint8_t)((c->b[0] >> 5) & 0x07);
    uint8_t count = (uint8_t)(c->b[0] & 0x1F);
    if (mode == CHORD6_MODE_EXPLICIT) return count == 0;
    if (mode == CHORD6_MODE_RANGE)    return c->b[2] == 0;   /* range_count == 0 */
    return c->b[2] == 0;                                     /* quality == 0 */
}
```
